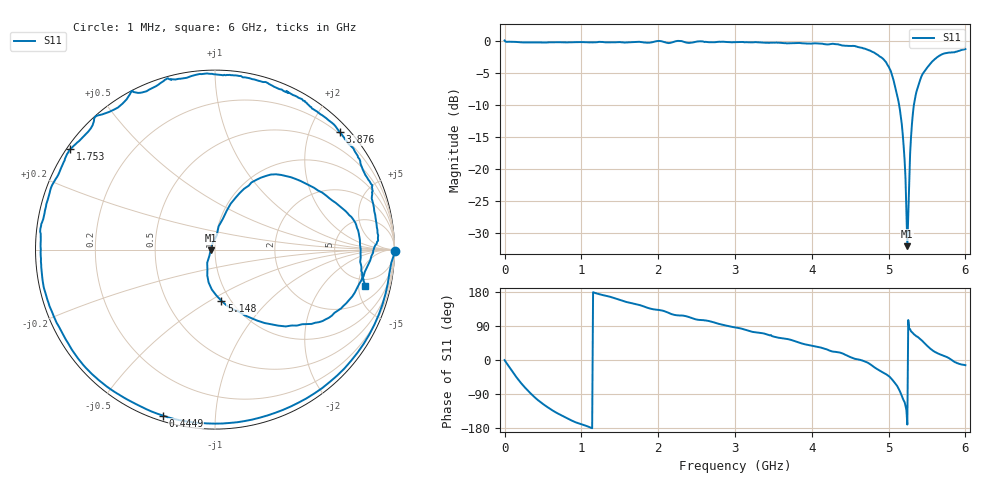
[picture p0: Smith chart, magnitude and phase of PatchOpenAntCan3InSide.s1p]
# Hz S RI R 50
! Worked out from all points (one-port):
!   501 points, 1 MHz to 6 GHz, reference 50 ohm
!   lowest |S11| = -32.0 dB at 5.244 GHz (marker M1), VSWR 1.05, Z = 47.6 - j0.399 ohm
!   |S11| at or under -10 dB: 5.137 GHz to 5.329 GHz (192.3 MHz wide, 3.67 % of centre)
!   S11 on the Smith chart (normalised r, x): 1 MHz: open; 444.9 MHz: 0.02, -0.73; 1.753 GHz: 0.01, +0.31; 3.876 GHz: 0.17, +2.51; 5.148 GHz: 0.91, -0.56; 6 GHz: 3.77, -6.00
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1000000  1.005 -0.00569
9.6984e7  0.8601 -0.4725
2.16964e8  0.4661 -0.8523
3.24946e8  0.0817 -0.9659
4.44926e8  -0.2908 -0.9246
6.12898e8  -0.6455 -0.7289
7.56874e8  -0.8194 -0.5198
1.044826e9  -0.9646 -0.1286
1.50075e9  -0.9076 0.359
1.752708e9  -0.8066 0.5585
2.256624e9  -0.4659 0.8816
3.0005e9  0.0664 0.9733
3.756374e9  0.5978 0.748
3.876354e9  0.6953 0.6546
4.368272e9  0.8764 0.3109
4.50025e9  0.9017 0.1242
4.836194e9  0.7325 -0.2979
5.016164e9  0.4265 -0.423
5.148142e9  0.0356 -0.2853
5.184136e9  -0.0356 -0.1831
5.22013e9  -0.0435 -0.0731
5.244126e9  -0.0247 -0.00419
5.256124e9  -0.0115 0.0414
5.292118e9  0.044 0.1718
5.316114e9  0.0871 0.2554
5.412098e9  0.2813 0.4096
5.664056e9  0.7386 0.203
6e9  0.8377 -0.2043
